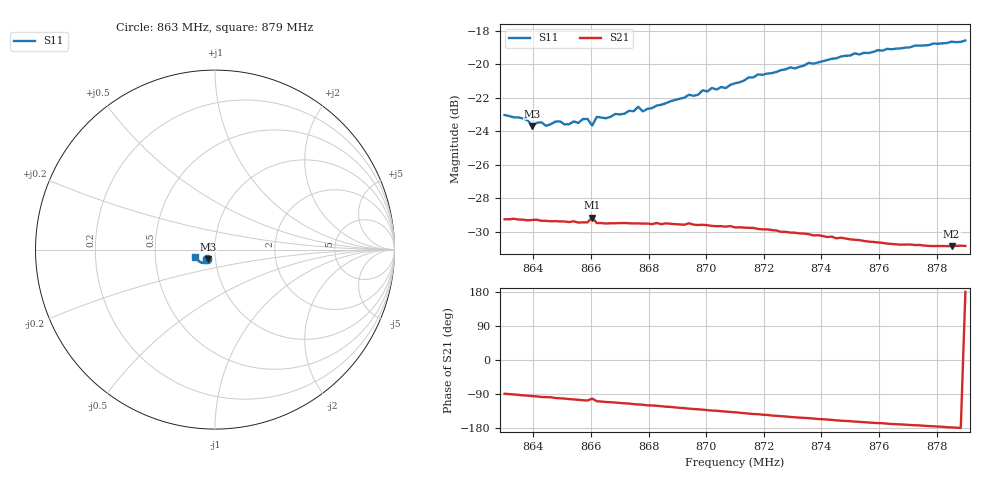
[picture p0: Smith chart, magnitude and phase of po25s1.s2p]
# HZ S RI R 50
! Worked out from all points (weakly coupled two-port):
!   101 points, 863 MHz to 879 MHz, reference 50 ohm
!   highest |S21| = -29.16 dB at 866.04 MHz (marker M1); lowest = -30.9 dB at 878.52 MHz (marker M2)
!   lowest |S11| = -23.7 dB at 863.96 MHz (marker M3), VSWR 1.14, Z = 46 - j4.88 ohm
!   |S11| at or under -10 dB: start of sweep to end of sweep
!   S12 and S22 are empty: the file has one direction only
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8.63e8  -0.0443 -0.0548  0.000593 -0.0344  0 0  0 0
8.638e8  -0.0406 -0.0546  -0.00241 -0.0341  0 0  0 0
8.6396e8  -0.0386 -0.0528  -0.00318 -0.0341  0 0  0 0
8.6492e8  -0.0374 -0.0562  -0.00651 -0.0333  0 0  0 0
8.6524e8  -0.0348 -0.0563  -0.00765 -0.0329  0 0  0 0
8.6572e8  -0.0351 -0.0589  -0.00938 -0.0324  0 0  0 0
8.6588e8  -0.0356 -0.0587  -0.00979 -0.0322  0 0  0 0
8.6604e8  -0.032 -0.0572  -0.00717 -0.0341  0 0  0 0
8.662e8  -0.0361 -0.0595  -0.0108 -0.0318  0 0  0 0
8.6652e8  -0.0344 -0.0597  -0.0119 -0.0312  0 0  0 0
8.6748e8  -0.0351 -0.0632  -0.0149 -0.03  0 0  0 0
8.6764e8  -0.0372 -0.0647  -0.0154 -0.0297  0 0  0 0
8.678e8  -0.035 -0.0633  -0.0157 -0.0295  0 0  0 0
8.6844e8  -0.0376 -0.0656  -0.0176 -0.0283  0 0  0 0
8.6988e8  -0.0427 -0.0718  -0.0218 -0.025  0 0  0 0
8.71e8  -0.0484 -0.0731  -0.0242 -0.0218  0 0  0 0
8.718e8  -0.0557 -0.0748  -0.0257 -0.0194  0 0  0 0
8.7372e8  -0.0679 -0.0738  -0.0278 -0.0132  0 0  0 0
8.7516e8  -0.082 -0.0699  -0.0285 -0.00897  0 0  0 0
8.7644e8  -0.092 -0.0616  -0.0285 -0.00558  0 0  0 0
8.7852e8  -0.1078 -0.0448  -0.0286 -0.00103  0 0  0 0
8.79e8  -0.111 -0.0392  -0.0287 3.1e-05  0 0  0 0
